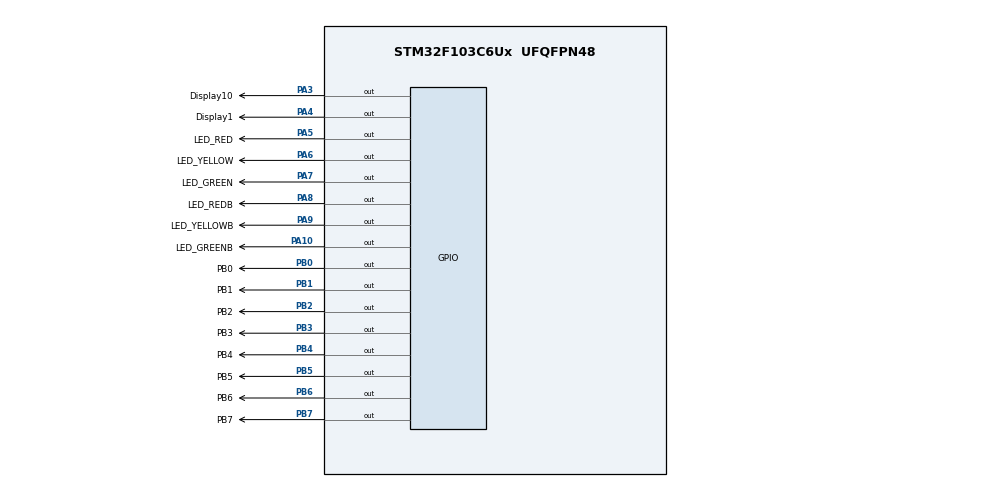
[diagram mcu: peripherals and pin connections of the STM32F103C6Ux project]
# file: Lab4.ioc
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Mcu.Family=STM32F1
Mcu.Name=STM32F103C6Ux
Mcu.Package=UFQFPN48
NVIC.PriorityGroup=NVIC_PRIORITYGROUP_4
NVIC.TIM2_IRQn=true\:0\:0\:false\:false\:true\:true\:true
PA10.GPIO_Label=LED_GREENB
PA10.Signal=GPIO_Output
PA3.GPIO_Label=Display10
PA3.Signal=GPIO_Output
PA4.GPIO_Label=Display1
PA4.Signal=GPIO_Output
PA5.GPIO_Label=LED_RED
PA5.Signal=GPIO_Output
PA6.GPIO_Label=LED_YELLOW
PA6.Signal=GPIO_Output
PA7.GPIO_Label=LED_GREEN
PA7.Signal=GPIO_Output
PA8.GPIO_Label=LED_REDB
PA8.Signal=GPIO_Output
PA9.GPIO_Label=LED_YELLOWB
PA9.Signal=GPIO_Output
PB0.GPIO_Label=PB0
PB0.Signal=GPIO_Output
PB1.GPIO_Label=PB1
PB1.Signal=GPIO_Output
PB2.GPIO_Label=PB2
PB2.Signal=GPIO_Output
PB3.GPIO_Label=PB3
PB3.Signal=GPIO_Output
PB4.GPIO_Label=PB4
PB4.Signal=GPIO_Output
PB5.GPIO_Label=PB5
PB5.Signal=GPIO_Output
PB6.GPIO_Label=PB6
PB6.Signal=GPIO_Output
PB7.GPIO_Label=PB7
PB7.Signal=GPIO_Output
ProjectManager.HeapSize=0x200
ProjectManager.StackSize=0x400
ProjectManager.TargetToolchain=STM32CubeIDE
RCC.APB1Freq_Value=8000000
RCC.APB2Freq_Value=8000000
TIM2.Period=9
TIM2.Prescaler=7999
VP_SYS_VS_ND.Mode=No_Debug
VP_TIM2_VS_ClockSourceINT.Mode=Internal
board=custom

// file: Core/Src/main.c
/* USER CODE BEGIN Header */
/**
  ******************************************************************************
  * @file           : main.c
  * @brief          : Main program body
  ******************************************************************************
  * @attention
  *
  * <h2><center>&copy; Copyright (c) 2024 STMicroelectronics.
  * All rights reserved.</center></h2>
  *
  * This software component is licensed by ST under BSD 3-Clause license,
  * the "License"; You may not use this file except in compliance with the
  * License. You may obtain a copy of the License at:
  *                        opensource.org/licenses/BSD-3-Clause
  *
  ******************************************************************************
  */
/* USER CODE END Header */
#include "main.h"

/* USER CODE BEGIN Includes */
#include "SCH_Schedual.h"
#include "software_timer.h"
#include "FSM_LEDNORMALLY.h"
#include "Dis7SEG.h"
#include "global.h"
/* USER CODE END Includes */

TIM_HandleTypeDef htim2;

void SystemClock_Config(void);
static void MX_TIM2_Init(void);
static void MX_GPIO_Init(void);
void Toggle(void);
/* USER CODE BEGIN PFP */
Button button1; // Declare a variable of type Button
Button button2; // Declare a variable of type Button
Button button3; // Declare a variable of type Button

void Toggle2(){
	HAL_GPIO_TogglePin(GPIOA, GPIO_PIN_4);

}
/* USER CODE END PFP */

int main(void)
{

  /* MCU Configuration--------------------------------------------------------*/

  /* Reset of all peripherals, Initializes the Flash interface and the Systick. */
  HAL_Init();

  /* Configure the system clock */
  SystemClock_Config();

  /* Initialize all configured peripherals */
  MX_TIM2_Init();
  MX_GPIO_Init();
  /* USER CODE BEGIN 2 */
  HAL_TIM_Base_Start_IT (& htim2 ) ;
  SCH_Init();
  SCH_Add_Task(Display, 0, 50);
  SCH_Add_Task(FSM_LedNormalRun, 0, 100);
  SCH_Add_Task(Toggle, 0, 150);
  SCH_Add_Task(Toggle2, 0, 200);
  SCH_Add_Task(Display, 0, 250);
  status = 1;
  /* USER CODE END 2 */

  /* Infinite loop */
  while (1)
  {

    /* USER CODE BEGIN 3 */
	  //Display();
	  SCH_Dispatch_Tasks();
  }
  /* USER CODE END 3 */
}

void Toggle(){
	HAL_GPIO_TogglePin(GPIOA, GPIO_PIN_3);

}
void SystemClock_Config(void)
{
  RCC_OscInitTypeDef RCC_OscInitStruct = {0};
  RCC_ClkInitTypeDef RCC_ClkInitStruct = {0};

  /** Initializes the RCC Oscillators according to the specified parameters
  * in the RCC_OscInitTypeDef structure.
  */
  RCC_OscInitStruct.OscillatorType = RCC_OSCILLATORTYPE_HSI;
  RCC_OscInitStruct.HSIState = RCC_HSI_ON;
  RCC_OscInitStruct.HSICalibrationValue = RCC_HSICALIBRATION_DEFAULT;
  RCC_OscInitStruct.PLL.PLLState = RCC_PLL_NONE;
  if (HAL_RCC_OscConfig(&RCC_OscInitStruct) != HAL_OK)
  {
    Error_Handler();
  }
  /** Initializes the CPU, AHB and APB buses clocks
  */
  RCC_ClkInitStruct.ClockType = RCC_CLOCKTYPE_HCLK|RCC_CLOCKTYPE_SYSCLK
                              |RCC_CLOCKTYPE_PCLK1|RCC_CLOCKTYPE_PCLK2;
  RCC_ClkInitStruct.SYSCLKSource = RCC_SYSCLKSOURCE_HSI;
  RCC_ClkInitStruct.AHBCLKDivider = RCC_SYSCLK_DIV1;
  RCC_ClkInitStruct.APB1CLKDivider = RCC_HCLK_DIV1;
  RCC_ClkInitStruct.APB2CLKDivider = RCC_HCLK_DIV1;

  if (HAL_RCC_ClockConfig(&RCC_ClkInitStruct, FLASH_LATENCY_0) != HAL_OK)
  {
    Error_Handler();
  }
}

static void MX_TIM2_Init(void)
{

  TIM_ClockConfigTypeDef sClockSourceConfig = {0};
  TIM_MasterConfigTypeDef sMasterConfig = {0};

  htim2.Instance = TIM2;
  htim2.Init.Prescaler = 7999;
  htim2.Init.CounterMode = TIM_COUNTERMODE_UP;
  htim2.Init.Period = 9;
  htim2.Init.ClockDivision = TIM_CLOCKDIVISION_DIV1;
  htim2.Init.AutoReloadPreload = TIM_AUTORELOAD_PRELOAD_DISABLE;
  if (HAL_TIM_Base_Init(&htim2) != HAL_OK)
  {
    Error_Handler();
  }
  sClockSourceConfig.ClockSource = TIM_CLOCKSOURCE_INTERNAL;
  if (HAL_TIM_ConfigClockSource(&htim2, &sClockSourceConfig) != HAL_OK)
  {
    Error_Handler();
  }
  sMasterConfig.MasterOutputTrigger = TIM_TRGO_RESET;
  sMasterConfig.MasterSlaveMode = TIM_MASTERSLAVEMODE_DISABLE;
  if (HAL_TIMEx_MasterConfigSynchronization(&htim2, &sMasterConfig) != HAL_OK)
  {
    Error_Handler();
  }

}

static void MX_GPIO_Init(void)
{
  GPIO_InitTypeDef GPIO_InitStruct = {0};

  /* GPIO Ports Clock Enable */
  __HAL_RCC_GPIOA_CLK_ENABLE();
  __HAL_RCC_GPIOB_CLK_ENABLE();

  /*Configure GPIO pin Output Level */
  HAL_GPIO_WritePin(GPIOA, Display10_Pin|Display1_Pin|LED_RED_Pin|LED_YELLOW_Pin
                          |LED_GREEN_Pin|LED_REDB_Pin|LED_YELLOWB_Pin|LED_GREENB_Pin, GPIO_PIN_RESET);

  /*Configure GPIO pin Output Level */
  HAL_GPIO_WritePin(GPIOB, PB0_Pin|PB1_Pin|PB2_Pin|PB3_Pin
                          |PB4_Pin|PB5_Pin|PB6_Pin|PB7_Pin, GPIO_PIN_RESET);

  /*Configure GPIO pins : Display10_Pin Display1_Pin LED_RED_Pin LED_YELLOW_Pin
                           LED_GREEN_Pin LED_REDB_Pin LED_YELLOWB_Pin LED_GREENB_Pin */
  GPIO_InitStruct.Pin = Display10_Pin|Display1_Pin|LED_RED_Pin|LED_YELLOW_Pin
                          |LED_GREEN_Pin|LED_REDB_Pin|LED_YELLOWB_Pin|LED_GREENB_Pin;
  GPIO_InitStruct.Mode = GPIO_MODE_OUTPUT_PP;
  GPIO_InitStruct.Pull = GPIO_NOPULL;
  GPIO_InitStruct.Speed = GPIO_SPEED_FREQ_LOW;
  HAL_GPIO_Init(GPIOA, &GPIO_InitStruct);

  /*Configure GPIO pins : PB0_Pin PB1_Pin PB2_Pin PB3_Pin
                           PB4_Pin PB5_Pin PB6_Pin PB7_Pin */
  GPIO_InitStruct.Pin = PB0_Pin|PB1_Pin|PB2_Pin|PB3_Pin
                          |PB4_Pin|PB5_Pin|PB6_Pin|PB7_Pin;
  GPIO_InitStruct.Mode = GPIO_MODE_OUTPUT_PP;
  GPIO_InitStruct.Pull = GPIO_NOPULL;
  GPIO_InitStruct.Speed = GPIO_SPEED_FREQ_LOW;
  HAL_GPIO_Init(GPIOB, &GPIO_InitStruct);

}

int count = 100;
/* USER CODE BEGIN 4 */
void HAL_TIM_PeriodElapsedCallback ( TIM_HandleTypeDef * htim ){
	SCH_Update();
	timerRun();
	count--;
	if(count ==0){
	//HAL_GPIO_TogglePin(GPIOA, GPIO_PIN_3);

	count = 100;
	}
	//timerRun();
}
/* USER CODE END 4 */

void Error_Handler(void)
{
  __disable_irq();
  while (1)
  {
  }
}

/************************ (C) COPYRIGHT STMicroelectronics *****END OF FILE****/
